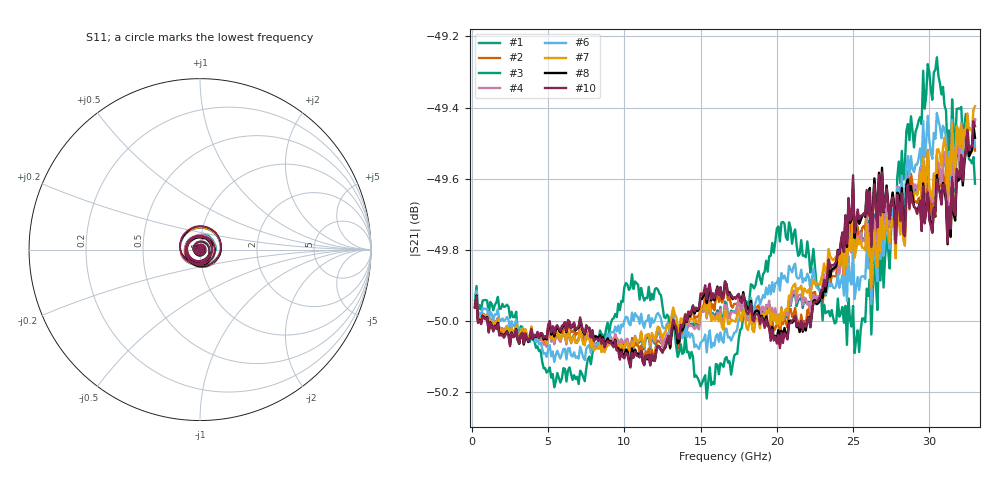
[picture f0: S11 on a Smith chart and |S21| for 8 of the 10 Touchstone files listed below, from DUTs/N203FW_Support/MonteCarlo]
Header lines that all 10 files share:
# GHZ S RI R 50
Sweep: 200 MHz to 33 GHz
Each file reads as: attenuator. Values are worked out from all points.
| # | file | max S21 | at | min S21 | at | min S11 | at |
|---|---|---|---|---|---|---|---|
| 1 | N203FW_84.s2p | -49.44 dB | 33 GHz | -50.1 dB | 10.4 GHz | -48.3 dB | 2.3 GHz |
| 2 | N203FW_86.s2p | -49.45 dB | 32.5 GHz | -50.1 dB | 11.7 GHz | -48.0 dB | 2.4 GHz |
| 3 | N203FW_92.s2p | -49.26 dB | 30.5 GHz | -50.2 dB | 15.4 GHz | -48.0 dB | 2.1 GHz |
| 4 | N203FW_93.s2p | -49.43 dB | 33 GHz | -50.1 dB | 10.4 GHz | -47.2 dB | 2.6 GHz |
| 5 | N203FW_95.s2p | -49.12 dB | 30.5 GHz | -50.3 dB | 15.4 GHz | -49.4 dB | 1 GHz |
| 6 | N203FW_96.s2p | -49.42 dB | 30.5 GHz | -50.1 dB | 5.4 GHz | -48.7 dB | 2.3 GHz |
| 7 | N203FW_97.s2p | -49.40 dB | 33 GHz | -50.1 dB | 10.4 GHz | -48.0 dB | 2.5 GHz |
| 8 | N203FW_98.s2p | -49.45 dB | 32.9 GHz | -50.1 dB | 11.7 GHz | -48.0 dB | 2.5 GHz |
| 9 | N203FW_99.s2p | -49.42 dB | 32.9 GHz | -50.1 dB | 10.4 GHz | -47.6 dB | 2.5 GHz |
| 10 | N203FW_100.s2p | -49.44 dB | 32.9 GHz | -50.1 dB | 10.4 GHz | -47.8 dB | 2.5 GHz |
